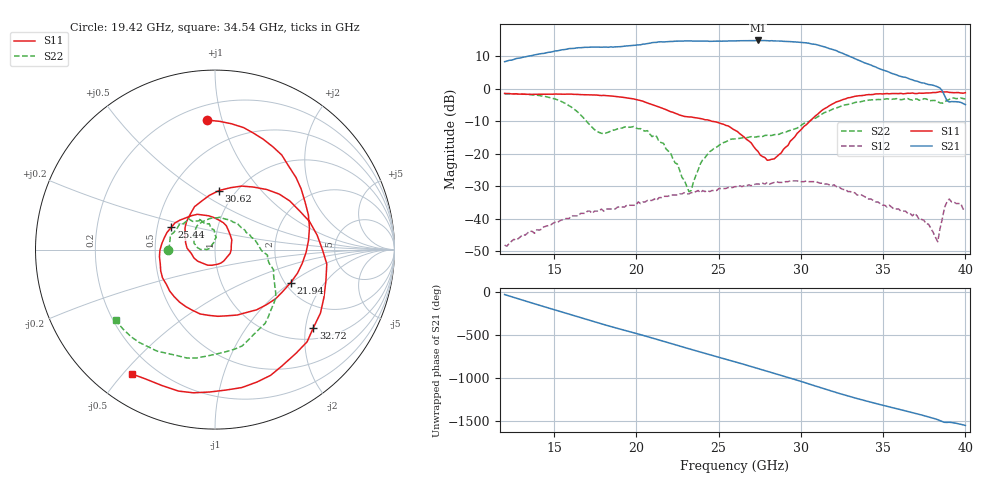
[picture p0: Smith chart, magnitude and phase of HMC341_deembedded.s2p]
!Hittite Microwave Corporation
!12 Elizabeth Drive
!Chelmsford, MA 01824
!Tel: 978-250-3343
!Fax: 978-250-3373
!Device: HMC341, 24-30 GHz, GaAs MMIC Low Noise Amlifier Die
!Misc: Vdd=3V, Data includes (two) K connectors, Room
# MHZ S MA R 50
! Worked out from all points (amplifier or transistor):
!   201 points, 12 GHz to 40 GHz, reference 50 ohm
!   highest |S21| = 14.9 dB at 27.4 GHz (marker M1)
!   |S21| within 3 dB of that: 15.39 GHz to 32.07 GHz (16.68 GHz wide, 70.3 % of centre)
!   unconditionally stable (mu >= 1): start of sweep to end of sweep
!   at 16.62 GHz: K = 3.05, MAG = 17.8 dB, |S12| = -38.4 dB
!   at 26 GHz: K = 2.82, MAG = 15.1 dB, |S12| = -30.2 dB
!   at 40 GHz: K = 8.02, MAG = 4.1 dB, |S12| = -37.1 dB
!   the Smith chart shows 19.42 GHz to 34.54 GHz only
!   S11 on the Smith chart (normalised r, x): 19.42 GHz: 0.30, +0.90; 21.94 GHz: 2.14, -1.00; 25.44 GHz: 0.59, +0.16; 30.62 GHz: 0.84, +0.62; 32.72 GHz: 1.29, -2.21; 34.54 GHz: 0.12, -0.53
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12000  0.849 40.8  2.619 -24.1  0.003885 164.4  0.834 -102.2
13400  0.822 -32.2  3.169 -107.4  0.005986 96.2  0.817 -164.2
14660  0.829 -95.4  3.652 179.7  0.007821 40.6  0.74 141.9
15920  0.827 -148.0  4.17 107.3  0.01 -23.7  0.547 80.9
16760  0.811 -177.6  4.341 58.1  0.012 -66.1  0.364 29.4
18020  0.791 141.8  4.391 -13.2  0.013 -128.9  0.204 -86.7
19420  0.723 93.5  4.571 -86.8  0.016 160.5  0.261 -179.4
21380  0.524 5.7  5.294 167.6  0.021 59.8  0.153 111.1
21940  0.46 -23.6  5.347 136.0  0.022 34.6  0.11 92.7
22920  0.375 -79.6  5.455 80.7  0.025 -17.7  0.039 101.3
24040  0.342 -137.7  5.437 19.3  0.027 -77.9  0.081 179.5
25440  0.273 153.0  5.44 -56.4  0.029 -146.1  0.152 138.4
26000  0.23 124.8  5.483 -87.0  0.031 -174.9  0.169 116.8
27400  0.108 29.9  5.564 -164.5  0.034 112.9  0.184 64.5
29080  0.126 -157.9  5.381 99.4  0.037 27.7  0.214 18.7
30620  0.33 86.0  4.935 8.3  0.037 -58.0  0.328 -16.7
30760  0.356 75.8  4.882 -0.8  0.037 -65.7  0.346 -19.3
31740  0.55 16.4  4.161 -59.7  0.033 -119.9  0.459 -47.4
32720  0.7 -38.5  3.353 -116.7  0.028 -173.4  0.566 -79.3
34540  0.833 -123.7  2.174 148.7  0.018 97.4  0.68 -144.6
35380  0.837 -160.4  1.795 107.9  0.016 58.5  0.689 -173.0
40000  0.87 -5.9  0.57 -107.5  0.014 -133.3  0.698 15.8
